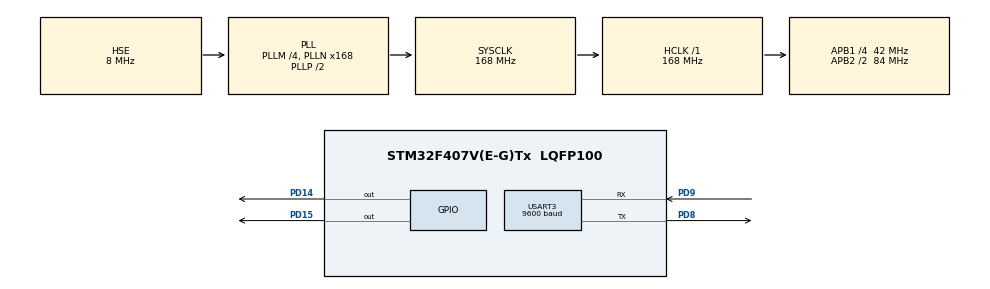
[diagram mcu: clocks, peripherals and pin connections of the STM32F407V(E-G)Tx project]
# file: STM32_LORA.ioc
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Mcu.Family=STM32F4
Mcu.Name=STM32F407V(E-G)Tx
Mcu.Package=LQFP100
NVIC.PriorityGroup=NVIC_PRIORITYGROUP_4
NVIC.USART3_IRQn=true\:0\:0\:false\:false\:true\:true\:true
PD14.Signal=GPIO_Output
PD15.Signal=GPIO_Output
PD8.Mode=Asynchronous
PD8.Signal=USART3_TX
PD9.Mode=Asynchronous
PD9.Signal=USART3_RX
PH0-OSC_IN.Mode=HSE-External-Oscillator
PH0-OSC_IN.Signal=RCC_OSC_IN
PH1-OSC_OUT.Mode=HSE-External-Oscillator
PH1-OSC_OUT.Signal=RCC_OSC_OUT
ProjectManager.HeapSize=0x200
ProjectManager.StackSize=0x400
ProjectManager.TargetToolchain=STM32CubeIDE
RCC.48MHZClocksFreq_Value=84000000
RCC.AHBFreq_Value=168000000
RCC.APB1CLKDivider=RCC_HCLK_DIV4
RCC.APB1Freq_Value=42000000
RCC.APB1TimFreq_Value=84000000
RCC.APB2CLKDivider=RCC_HCLK_DIV2
RCC.APB2Freq_Value=84000000
RCC.APB2TimFreq_Value=168000000
RCC.CortexFreq_Value=168000000
RCC.HCLKFreq_Value=168000000
RCC.HSE_VALUE=8000000
RCC.HSI_VALUE=16000000
RCC.LSE_VALUE=32768
RCC.PLLM=4
RCC.PLLN=168
RCC.PLLSourceVirtual=RCC_PLLSOURCE_HSE
RCC.SYSCLKFreq_VALUE=168000000
RCC.SYSCLKSource=RCC_SYSCLKSOURCE_PLLCLK
RCC.VCOOutputFreq_Value=336000000
USART3.BaudRate=9600
USART3.VirtualMode=VM_ASYNC
board=custom

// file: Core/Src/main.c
/* USER CODE BEGIN Header */
/**
  ******************************************************************************
  * @file           : main.c
  * @brief          : Main program body
  ******************************************************************************
  * @attention
  *
  * <h2><center>&copy; Copyright (c) 2021 STMicroelectronics.
  * All rights reserved.</center></h2>
  *
  * This software component is licensed by ST under BSD 3-Clause license,
  * the "License"; You may not use this file except in compliance with the
  * License. You may obtain a copy of the License at:
  *                        opensource.org/licenses/BSD-3-Clause
  *
  ******************************************************************************
  */
/* USER CODE END Header */

#include "main.h"

UART_HandleTypeDef huart3;

/* USER CODE BEGIN PV */
char Uart_Data[50];
char Rx_Byte[1];
char Rx_Flag;
char Rx_Cnt=0;
/* USER CODE END PV */

void SystemClock_Config(void);
static void MX_GPIO_Init(void);
static void MX_USART3_UART_Init(void);

int main(void)
{

  /* MCU Configuration--------------------------------------------------------*/

  /* Reset of all peripherals, Initializes the Flash interface and the Systick. */
  HAL_Init();

  /* Configure the system clock */
  SystemClock_Config();

  /* Initialize all configured peripherals */
  MX_GPIO_Init();
  MX_USART3_UART_Init();
  /* USER CODE BEGIN 2 */
  HAL_UART_Receive_IT(&huart3, Rx_Byte, 1);

  /* USER CODE END 2 */

  /* Infinite loop */
  while (1)
  {

  }
}

void SystemClock_Config(void)
{
  RCC_OscInitTypeDef RCC_OscInitStruct = {0};
  RCC_ClkInitTypeDef RCC_ClkInitStruct = {0};

  /** Configure the main internal regulator output voltage
  */
  __HAL_RCC_PWR_CLK_ENABLE();
  __HAL_PWR_VOLTAGESCALING_CONFIG(PWR_REGULATOR_VOLTAGE_SCALE1);
  /** Initializes the CPU, AHB and APB busses clocks
  */
  RCC_OscInitStruct.OscillatorType = RCC_OSCILLATORTYPE_HSE;
  RCC_OscInitStruct.HSEState = RCC_HSE_ON;
  RCC_OscInitStruct.PLL.PLLState = RCC_PLL_ON;
  RCC_OscInitStruct.PLL.PLLSource = RCC_PLLSOURCE_HSE;
  RCC_OscInitStruct.PLL.PLLM = 4;
  RCC_OscInitStruct.PLL.PLLN = 168;
  RCC_OscInitStruct.PLL.PLLP = RCC_PLLP_DIV2;
  RCC_OscInitStruct.PLL.PLLQ = 4;
  if (HAL_RCC_OscConfig(&RCC_OscInitStruct) != HAL_OK)
  {
    Error_Handler();
  }
  /** Initializes the CPU, AHB and APB busses clocks
  */
  RCC_ClkInitStruct.ClockType = RCC_CLOCKTYPE_HCLK|RCC_CLOCKTYPE_SYSCLK
                              |RCC_CLOCKTYPE_PCLK1|RCC_CLOCKTYPE_PCLK2;
  RCC_ClkInitStruct.SYSCLKSource = RCC_SYSCLKSOURCE_PLLCLK;
  RCC_ClkInitStruct.AHBCLKDivider = RCC_SYSCLK_DIV1;
  RCC_ClkInitStruct.APB1CLKDivider = RCC_HCLK_DIV4;
  RCC_ClkInitStruct.APB2CLKDivider = RCC_HCLK_DIV2;

  if (HAL_RCC_ClockConfig(&RCC_ClkInitStruct, FLASH_LATENCY_5) != HAL_OK)
  {
    Error_Handler();
  }
}

static void MX_USART3_UART_Init(void)
{

  huart3.Instance = USART3;
  huart3.Init.BaudRate = 9600;
  huart3.Init.WordLength = UART_WORDLENGTH_8B;
  huart3.Init.StopBits = UART_STOPBITS_1;
  huart3.Init.Parity = UART_PARITY_NONE;
  huart3.Init.Mode = UART_MODE_TX_RX;
  huart3.Init.HwFlowCtl = UART_HWCONTROL_NONE;
  huart3.Init.OverSampling = UART_OVERSAMPLING_16;
  if (HAL_UART_Init(&huart3) != HAL_OK)
  {
    Error_Handler();
  }

}

static void MX_GPIO_Init(void)
{
  GPIO_InitTypeDef GPIO_InitStruct = {0};

  /* GPIO Ports Clock Enable */
  __HAL_RCC_GPIOH_CLK_ENABLE();
  __HAL_RCC_GPIOD_CLK_ENABLE();

  /*Configure GPIO pin Output Level */
  HAL_GPIO_WritePin(GPIOD, GPIO_PIN_14|GPIO_PIN_15, GPIO_PIN_RESET);

  /*Configure GPIO pins : PD14 PD15 */
  GPIO_InitStruct.Pin = GPIO_PIN_14|GPIO_PIN_15;
  GPIO_InitStruct.Mode = GPIO_MODE_OUTPUT_PP;
  GPIO_InitStruct.Pull = GPIO_NOPULL;
  GPIO_InitStruct.Speed = GPIO_SPEED_FREQ_LOW;
  HAL_GPIO_Init(GPIOD, &GPIO_InitStruct);

}

/* USER CODE BEGIN 4 */
void HAL_UART_RxCpltCallback(UART_HandleTypeDef *huart)
{
	HAL_UART_Receive_IT(&huart3, (uint8_t*)Rx_Byte, 1);

	if(Rx_Cnt==0) memset(Uart_Data,0x00,13);

	Uart_Data[Rx_Cnt++] = Rx_Byte[0];

	if(Rx_Cnt>=13)
	{
		if( (Uart_Data[11]=='\r') &&  (Uart_Data[12]=='\n') )
		{
			Rx_Cnt = 0;
			Rx_Flag = 1;
			//HAL_UART_Transmit_IT(&huart3,Uart_Data,13);
			HAL_UART_Transmit_IT(&huart3,"Message Received...",19);
			HAL_GPIO_TogglePin(GPIOD, GPIO_PIN_14);
		}
		else
		{
			Rx_Cnt = 0;
			memset(Uart_Data,0x00,13);
		}

	}

}
/* USER CODE END 4 */

void Error_Handler(void)
{
}

/************************ (C) COPYRIGHT STMicroelectronics *****END OF FILE****/
